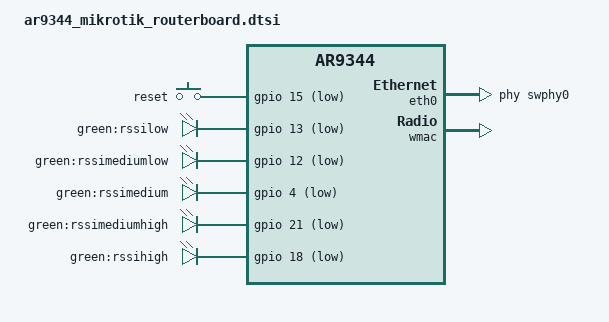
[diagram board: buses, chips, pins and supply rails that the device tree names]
// SPDX-License-Identifier: GPL-2.0-or-later OR MIT

#include "ar9344.dtsi"

#include <dt-bindings/gpio/gpio.h>
#include <dt-bindings/input/input.h>

/ {
	aliases {
		led-boot = &led_user;
		led-failsafe = &led_user;
		led-running = &led_user;
		led-upgrade = &led_user;
	};

	keys {
		compatible = "gpio-keys";

		reset {
			label = "reset";
			linux,code = <KEY_RESTART>;
			gpios = <&gpio 15 GPIO_ACTIVE_LOW>;
			debounce-interval = <60>;
		};
	};

	leds: leds {
		compatible = "gpio-leds";

		rssilow {
			label = "green:rssilow";
			gpios = <&gpio 13 GPIO_ACTIVE_LOW>;
		};

		rssimediumlow {
			label = "green:rssimediumlow";
			gpios = <&gpio 12 GPIO_ACTIVE_LOW>;
		};

		rssimedium {
			label = "green:rssimedium";
			gpios = <&gpio 4 GPIO_ACTIVE_LOW>;
		};

		rssimediumhigh {
			label = "green:rssimediumhigh";
			gpios = <&gpio 21 GPIO_ACTIVE_LOW>;
		};

		rssihigh {
			label = "green:rssihigh";
			gpios = <&gpio 18 GPIO_ACTIVE_LOW>;
		};
	};
};

&eth0 {
	status = "okay";

	phy-handle = <&swphy0>;

	gmac-config {
		device = <&gmac>;
		switch-phy-swap = <1>;
	};
};

&eth1 {
	status = "okay";

	compatible = "syscon", "simple-mfd";
};

&wmac {
	status = "okay";

	qca,no-eeprom;
};
